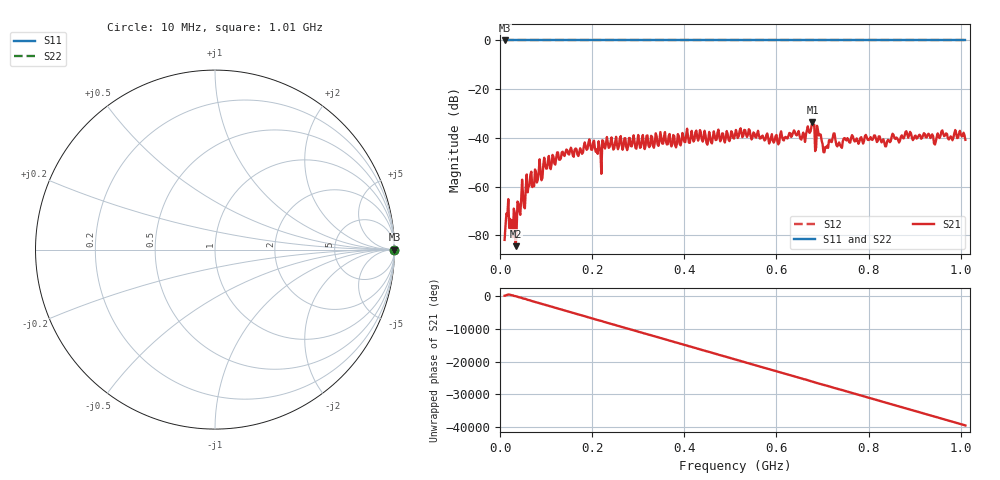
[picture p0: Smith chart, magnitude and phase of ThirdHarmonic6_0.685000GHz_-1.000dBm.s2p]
! 8/15/2025 10:52:02 PM
! C:\ANRITSUVNA\TEMP\TEMP.S2P
! CHANNEL.1
! TR.MEASUREMENT
! RAW.DATA
! RF.CORRECTION.OFF
! AVERAGING.OFF
! IF.BANDWIDTH: 5KHZ
! SWEEPTYPE:  FREQ.SWEEP(Linear)
! Reference Plane Port Info
! PORT:  PORT1  PORT2
! DISTANCE:  0  m  0  m
! TIME:  0  s  0  s
! PHASE.OFFSET:  0  deg.  0  deg.
! LOSS:  0  dB  0  dB
! REF.LOSS:  0  dB  0  dB
! REF.FREQ:  0  Hz  0  Hz
! Power Info
! POWER:  -20  dBm  -20  dBm
! EFF.POWER:  -20  dBm  -20  dBm
! SOURCE.ATTEN:  0  dB  0  dB
! TEST.ATTEN:  0  dB  0  dB
# GHZ S RI R 50.0
! FREQ.GHZ  S11RE  S11IM  S21RE  S21IM  S12RE  S12IM  S22RE  S22IM
!; PortSelection: Port_12
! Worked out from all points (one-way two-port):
!   501 points, 10 MHz to 1.01 GHz, reference 50 ohm
!   highest |S21| = -33.60 dB at 678 MHz (marker M1); lowest = -84.5 dB at 34 MHz (marker M2)
!   lowest |S11| = 0.0 dB at 10 MHz (marker M3)
!   |S11| at or under -10 dB: nowhere
!   |S22| runs from 0.0 to 0.0 dB; largest |S21 - S12| = 1
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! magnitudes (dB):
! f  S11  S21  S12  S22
! 10 MHz  0.0  -81.9  0.0  0.0
! 18 MHz  0.0  -65.1  0.0  0.0
! 24 MHz  0.0  -78.3  0.0  0.0
! 34 MHz  0.0  -84.5  0.0  0.0
! 62 MHz  0.0  -59.7  0.0  0.0
! 98 MHz  0.0  -51.2  0.0  0.0
! 178 MHz  0.0  -46.6  0.0  0.0
! 198 MHz  0.0  -44.8  0.0  0.0
! 216 MHz  0.0  -43.8  0.0  0.0
! 228 MHz  0.0  -44.4  0.0  0.0
! 344 MHz  0.0  -43.3  0.0  0.0
! 510 MHz  0.0  -38.8  0.0  0.0
! 658 MHz  0.0  -37.8  0.0  0.0
! 678 MHz  0.0  -33.6  0.0  0.0
! 692 MHz  0.0  -39.0  0.0  0.0
! 706 MHz  0.0  -43.8  0.0  0.0
! 724 MHz  0.0  -38.2  0.0  0.0
! 738 MHz  0.0  -43.0  0.0  0.0
! 750 MHz  0.0  -40.7  0.0  0.0
! 844 MHz  0.0  -41.1  0.0  0.0
! 884 MHz  0.0  -38.7  0.0  0.0
! 1.01 GHz  0.0  -40.8  0.0  0.0
